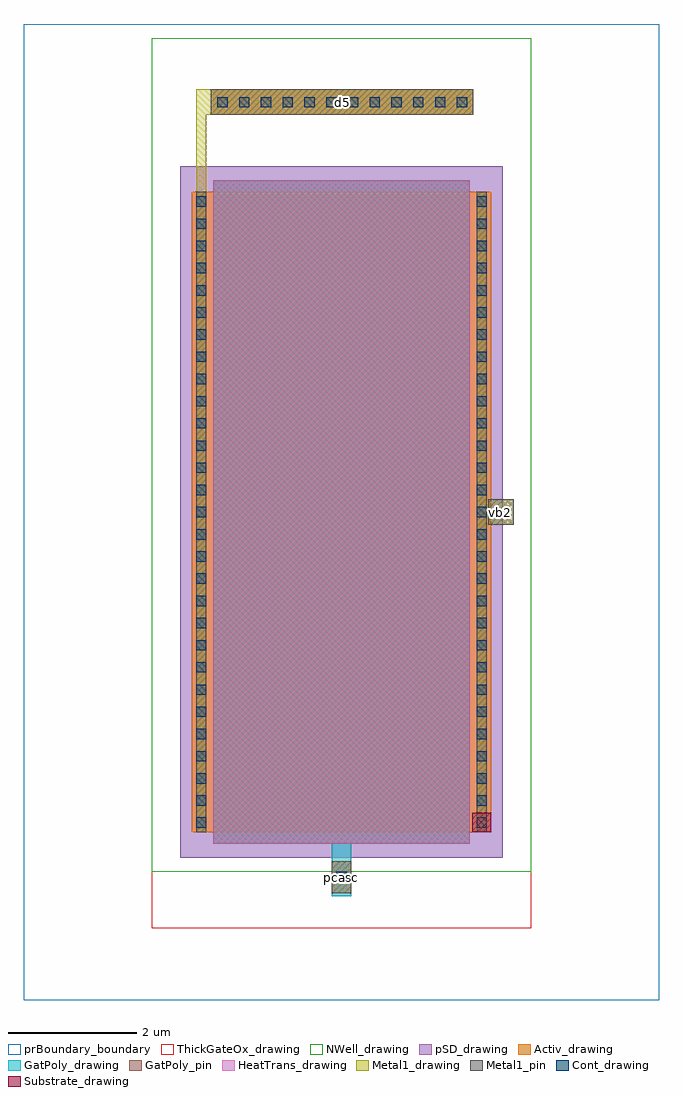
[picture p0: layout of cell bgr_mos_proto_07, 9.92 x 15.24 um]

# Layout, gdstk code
import gdstk
lib = gdstk.Library(unit=1e-6, precision=1e-09)
def R(c, l, rs):  # rectangles x0, y0, x1, y1
    for r in rs: c.add(gdstk.rectangle(r[:2], r[2:], *l))
def A(c, l, x, y, w, h, nx, ny, dx, dy):  # array of equal rectangles
    R(c, l, [(x+i*dx, y+j*dy, x+i*dx+w, y+j*dy+h) for i in range(nx) for j in range(ny)])
Activ_drawing = (1, 0)
GatPoly_drawing = (5, 0)
GatPoly_pin = (5, 2)
Cont_drawing = (6, 0)
Metal1_drawing = (8, 0)
Metal1_pin = (8, 2)
pSD_drawing = (14, 0)
NWell_drawing = (31, 0)
Substrate_drawing = (40, 0)
ThickGateOx_drawing = (44, 0)
HeatTrans_drawing = (51, 0)
prBoundary_boundary = (189, 4)

pmoshv = lib.new_cell('pmosHV')
R(pmoshv, Activ_drawing, [(0,0,0.3,0.3), (0,0,4.68,10), (4.38,0,4.68,0.3)])
R(pmoshv, GatPoly_drawing, [(0.34,-0.18,4.34,10.18)])
R(pmoshv, GatPoly_pin, [(0.34,-0.18,4.34,10.18)])
A(pmoshv, Cont_drawing, 0.07, 0.07, 0.16, 0.16, 1, 4, 0, 0.345)
A(pmoshv, Cont_drawing, 4.45, 0.07, 0.16, 0.16, 1, 4, 0, 0.345)
A(pmoshv, Cont_drawing, 0.07, 1.455, 0.16, 0.16, 1, 3, 0, 0.345)
A(pmoshv, Cont_drawing, 4.45, 1.455, 0.16, 0.16, 1, 3, 0, 0.345)
A(pmoshv, Cont_drawing, 0.07, 2.495, 0.16, 0.16, 1, 4, 0, 0.345)
A(pmoshv, Cont_drawing, 4.45, 2.495, 0.16, 0.16, 1, 4, 0, 0.345)
A(pmoshv, Cont_drawing, 0.07, 3.88, 0.16, 0.16, 1, 3, 0, 0.345)
A(pmoshv, Cont_drawing, 4.45, 3.88, 0.16, 0.16, 1, 3, 0, 0.345)
A(pmoshv, Cont_drawing, 0.07, 4.92, 0.16, 0.16, 1, 4, 0, 0.345)
A(pmoshv, Cont_drawing, 4.45, 4.92, 0.16, 0.16, 1, 4, 0, 0.345)
A(pmoshv, Cont_drawing, 0.07, 6.305, 0.16, 0.16, 1, 3, 0, 0.345)
A(pmoshv, Cont_drawing, 4.45, 6.305, 0.16, 0.16, 1, 3, 0, 0.345)
A(pmoshv, Cont_drawing, 0.07, 7.345, 0.16, 0.16, 1, 4, 0, 0.345)
A(pmoshv, Cont_drawing, 4.45, 7.345, 0.16, 0.16, 1, 4, 0, 0.345)
A(pmoshv, Cont_drawing, 0.07, 8.73, 0.16, 0.16, 1, 3, 0, 0.345)
A(pmoshv, Cont_drawing, 4.45, 8.73, 0.16, 0.16, 1, 3, 0, 0.345)
R(pmoshv, Cont_drawing, [(0.07,9.77,0.23,9.93), (4.45,9.77,4.61,9.93)])
R(pmoshv, Metal1_drawing, [(0.07,0,0.23,10), (4.45,0,4.61,10)])
R(pmoshv, Metal1_pin, [(0.07,0,0.23,10), (4.45,0,4.61,10)])
R(pmoshv, pSD_drawing, [(-0.18,-0.4,4.86,10.4)])
R(pmoshv, NWell_drawing, [(-0.62,-0.62,5.3,10.62)])
R(pmoshv, Substrate_drawing, [(4.38,0,4.68,0.3)])
R(pmoshv, ThickGateOx_drawing, [(-0.62,-0.62,5.3,10.62)])
R(pmoshv, HeatTrans_drawing, [(0.34,-0.18,4.34,10.18)])
pmoshv.add(gdstk.Label('pmosHV', (2.34,5), layer=63, texttype=0))
pmoshv.add(gdstk.Label('pmos', (2.34,5), layer=51, texttype=0))

bgr_mos_proto_07 = lib.new_cell('bgr_mos_proto_07')
R(bgr_mos_proto_07, Activ_drawing, [(10.3,21.2,14.4,21.6)])
R(bgr_mos_proto_07, GatPoly_drawing, [(12.19,9,12.49,9.82)])
A(bgr_mos_proto_07, Cont_drawing, 10.4, 21.32, 0.16, 0.16, 12, 1, 0.34, 0)
R(bgr_mos_proto_07, Cont_drawing, [(12.26,9.22,12.42,9.38)])
R(bgr_mos_proto_07, Metal1_drawing, [(12.19,9.05,12.49,9.55), (14.45,14.8,15.03,15.2), (10.07,19.9,10.23,21.6), (10.07,21.2,10.3,21.6), (10.3,21.2,14.4,21.6)])
R(bgr_mos_proto_07, Metal1_pin, [(12.19,9.05,12.49,9.55), (14.63,14.8,15.03,15.2), (10.3,21.2,14.4,21.6)])
R(bgr_mos_proto_07, NWell_drawing, [(9.38,9.38,15.3,22.4)])
R(bgr_mos_proto_07, ThickGateOx_drawing, [(9.38,8.5,15.3,22.4)])
R(bgr_mos_proto_07, prBoundary_boundary, [(7.38,7.38,17.3,22.62)])
bgr_mos_proto_07.add(gdstk.Reference(pmoshv, (10,10)))
bgr_mos_proto_07.add(gdstk.Label('pcasc', (12.34,9.3), layer=8, texttype=25))
bgr_mos_proto_07.add(gdstk.Label('vb2', (14.83,15), layer=8, texttype=25))
bgr_mos_proto_07.add(gdstk.Label('d5', (12.35,21.4), layer=8, texttype=25))

lib.write_gds('bgr_mos_proto_07.gds')
